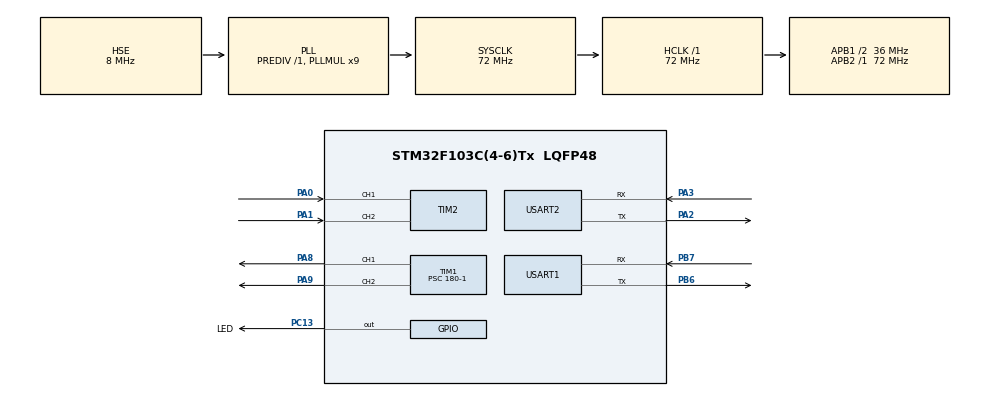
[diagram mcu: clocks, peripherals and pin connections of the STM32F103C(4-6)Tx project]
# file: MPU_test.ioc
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FREERTOS.Tasks01=defaultTask,24,128,StartDefaultTask,Default,NULL,Dynamic,NULL,NULL
FREERTOS.Timers01=ENCODER_TASK,ENCODER_,osTimerPeriodic,Default,NULL,Dynamic,NULL;PID_TASK,PID,osTimerPeriodic,Default,NULL,Dynamic,NULL
Mcu.Family=STM32F1
Mcu.Name=STM32F103C(4-6)Tx
Mcu.Package=LQFP48
NVIC.PriorityGroup=NVIC_PRIORITYGROUP_4
NVIC.TIM3_IRQn=true\:15\:0\:false\:false\:true\:false\:false\:true\:true
NVIC.TimeBase=TIM3_IRQn
NVIC.TimeBaseIP=TIM3
NVIC.USART1_IRQn=true\:5\:0\:false\:false\:true\:true\:true\:true\:true
PA0-WKUP.Signal=S_TIM2_CH1_ETR
PA1.Signal=S_TIM2_CH2
PA13.Mode=Serial_Wire
PA13.Signal=SYS_JTMS-SWDIO
PA14.Mode=Serial_Wire
PA14.Signal=SYS_JTCK-SWCLK
PA2.Mode=Asynchronous
PA2.Signal=USART2_TX
PA3.Mode=Asynchronous
PA3.Signal=USART2_RX
PA8.GPIO_Speed=GPIO_SPEED_FREQ_HIGH
PA8.Signal=S_TIM1_CH1
PA9.GPIO_Speed=GPIO_SPEED_FREQ_HIGH
PA9.Signal=S_TIM1_CH2
PB6.Mode=Asynchronous
PB6.Signal=USART1_TX
PB7.Mode=Asynchronous
PB7.Signal=USART1_RX
PC13-TAMPER-RTC.GPIO_Label=LED
PC13-TAMPER-RTC.PinState=GPIO_PIN_RESET
PC13-TAMPER-RTC.Signal=GPIO_Output
PD0-OSC_IN.Mode=HSE-External-Oscillator
PD0-OSC_IN.Signal=RCC_OSC_IN
PD1-OSC_OUT.Mode=HSE-External-Oscillator
PD1-OSC_OUT.Signal=RCC_OSC_OUT
ProjectManager.HeapSize=0x200
ProjectManager.StackSize=0x800
ProjectManager.TargetToolchain=MDK-ARM V5.32
RCC.AHBFreq_Value=72000000
RCC.APB1CLKDivider=RCC_HCLK_DIV2
RCC.APB1Freq_Value=36000000
RCC.APB1TimFreq_Value=72000000
RCC.APB2Freq_Value=72000000
RCC.APB2TimFreq_Value=72000000
RCC.HCLKFreq_Value=72000000
RCC.PLLMUL=RCC_PLL_MUL9
RCC.PLLSourceVirtual=RCC_PLLSOURCE_HSE
RCC.SYSCLKFreq_VALUE=72000000
RCC.SYSCLKSource=RCC_SYSCLKSOURCE_PLLCLK
RCC.USBFreq_Value=72000000
SH.S_TIM1_CH1.0=TIM1_CH1,PWM Generation1 CH1
SH.S_TIM1_CH2.0=TIM1_CH2,PWM Generation2 CH2
SH.S_TIM2_CH1_ETR.0=TIM2_CH1,Encoder_Interface
SH.S_TIM2_CH2.0=TIM2_CH2,Encoder_Interface
TIM1.Channel-PWM\ Generation1\ CH1=TIM_CHANNEL_1
TIM1.Channel-PWM\ Generation2\ CH2=TIM_CHANNEL_2
TIM1.Period=1000-1
TIM1.Prescaler=180-1
TIM1.Pulse-PWM\ Generation1\ CH1=0
TIM1.Pulse-PWM\ Generation2\ CH2=0
TIM2.EncoderMode=TIM_ENCODERMODE_TI12
TIM2.IC1Filter=5
TIM2.IC2Filter=5
USART1.VirtualMode=VM_ASYNC
USART2.VirtualMode=VM_ASYNC
VP_FREERTOS_VS_CMSIS_V2.Mode=CMSIS_V2
VP_SYS_VS_tim3.Mode=TIM3
VP_TIM1_VS_ClockSourceINT.Mode=Internal
board=custom

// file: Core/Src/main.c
/* USER CODE BEGIN Header */
/**
  ******************************************************************************
  * @file           : main.c
  * @brief          : Main program body
  ******************************************************************************
  * @attention
  *
  * Copyright (c) 2024 STMicroelectronics.
  * All rights reserved.
  *
  * This software is licensed under terms that can be found in the LICENSE file
  * in the root directory of this software component.
  * If no LICENSE file comes with this software, it is provided AS-IS.
  *
  ******************************************************************************
  */
/* USER CODE END Header */
#include "main.h"
#include "cmsis_os.h"
#include "tim.h"
#include "usart.h"
#include "gpio.h"

/* USER CODE BEGIN Includes */

#include "Delay.h"
#include "atk_ms901m.h"
#include "atk_ms901m_uart.h"
#include "pid.h"
/* USER CODE END Includes */

void SystemClock_Config(void);
void MX_FREERTOS_Init(void);

/* USER CODE BEGIN 0 */

extern UART_HandleTypeDef huart1;//句柄
extern uint8_t recieve_data;//串口中断接收到的一个字节数据

/* USER CODE END 0 */

int main(void)
{

  /* MCU Configuration--------------------------------------------------------*/

  /* Reset of all peripherals, Initializes the Flash interface and the Systick. */
  HAL_Init();

  /* Configure the system clock */
  SystemClock_Config();

  /* Initialize all configured peripherals */
  MX_GPIO_Init();
  MX_USART1_UART_Init();
  MX_TIM1_Init();
  MX_TIM2_Init();
  MX_USART2_UART_Init();
  /* USER CODE BEGIN 2 */

  /*接收中断*/
	HAL_UART_Receive_IT(&huart1,&recieve_data,1);//把串口3接受到的数据放入 recieve_data

	//电机
	HAL_TIM_PWM_Start(&htim1,TIM_CHANNEL_1);
	HAL_TIM_PWM_Start(&htim1,TIM_CHANNEL_2);
	//编码器
	HAL_TIM_Encoder_Start_IT(&htim2,TIM_CHANNEL_ALL);

	PID_init();

	Motor_Set(300,0);
  /* USER CODE END 2 */

  /* Init scheduler */
  osKernelInitialize();

  /* Call init function for freertos objects (in freertos.c) */
  MX_FREERTOS_Init();

  /* Start scheduler */
  osKernelStart();

  /* We should never get here as control is now taken by the scheduler */
  /* Infinite loop */
  while (1)
  {

	}
}

void SystemClock_Config(void)
{
  RCC_OscInitTypeDef RCC_OscInitStruct = {0};
  RCC_ClkInitTypeDef RCC_ClkInitStruct = {0};

  /** Initializes the RCC Oscillators according to the specified parameters
  * in the RCC_OscInitTypeDef structure.
  */
  RCC_OscInitStruct.OscillatorType = RCC_OSCILLATORTYPE_HSE;
  RCC_OscInitStruct.HSEState = RCC_HSE_ON;
  RCC_OscInitStruct.HSEPredivValue = RCC_HSE_PREDIV_DIV1;
  RCC_OscInitStruct.HSIState = RCC_HSI_ON;
  RCC_OscInitStruct.PLL.PLLState = RCC_PLL_ON;
  RCC_OscInitStruct.PLL.PLLSource = RCC_PLLSOURCE_HSE;
  RCC_OscInitStruct.PLL.PLLMUL = RCC_PLL_MUL9;
  if (HAL_RCC_OscConfig(&RCC_OscInitStruct) != HAL_OK)
  {
    Error_Handler();
  }

  /** Initializes the CPU, AHB and APB buses clocks
  */
  RCC_ClkInitStruct.ClockType = RCC_CLOCKTYPE_HCLK|RCC_CLOCKTYPE_SYSCLK
                              |RCC_CLOCKTYPE_PCLK1|RCC_CLOCKTYPE_PCLK2;
  RCC_ClkInitStruct.SYSCLKSource = RCC_SYSCLKSOURCE_PLLCLK;
  RCC_ClkInitStruct.AHBCLKDivider = RCC_SYSCLK_DIV1;
  RCC_ClkInitStruct.APB1CLKDivider = RCC_HCLK_DIV2;
  RCC_ClkInitStruct.APB2CLKDivider = RCC_HCLK_DIV1;

  if (HAL_RCC_ClockConfig(&RCC_ClkInitStruct, FLASH_LATENCY_2) != HAL_OK)
  {
    Error_Handler();
  }
}

void HAL_TIM_PeriodElapsedCallback(TIM_HandleTypeDef *htim)
{
  if (htim->Instance == TIM3) {
    HAL_IncTick();
  }
}

void Error_Handler(void)
{
  __disable_irq();
  while (1)
  {
  }
}

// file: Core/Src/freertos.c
/* USER CODE BEGIN Header */
/**
  ******************************************************************************
  * File Name          : freertos.c
  * Description        : Code for freertos applications
  ******************************************************************************
  * @attention
  *
  * Copyright (c) 2024 STMicroelectronics.
  * All rights reserved.
  *
  * This software is licensed under terms that can be found in the LICENSE file
  * in the root directory of this software component.
  * If no LICENSE file comes with this software, it is provided AS-IS.
  *
  ******************************************************************************
  */
/* USER CODE END Header */

#include "FreeRTOS.h"
#include "task.h"
#include "main.h"
#include "cmsis_os.h"

/* USER CODE BEGIN Includes */
#include "pid.h"
#include "tim.h"
#include "usart.h"
/* USER CODE END Includes */

/* USER CODE BEGIN PTD */
Motor_Stat Left_Motor;	/*左轮数据*/
Motor_Stat Right_Motor;	/*右轮数据*/

/*pid*/
extern Pid incremental_pid;
extern Pid local_pid;

/* USER CODE END PTD */

/* USER CODE BEGIN Variables */
//测试
float temp1_pwm;
float temp2_pwm;
/* USER CODE END Variables */
/* Definitions for defaultTask */
osThreadId_t defaultTaskHandle;
const osThreadAttr_t defaultTask_attributes = {
  .name = "defaultTask",
  .stack_size = 128 * 4,
  .priority = (osPriority_t) osPriorityNormal,
};
/* Definitions for ENCODER_TASK */
osTimerId_t ENCODER_TASKHandle;
const osTimerAttr_t ENCODER_TASK_attributes = {
  .name = "ENCODER_TASK"
};
/* Definitions for PID_TASK */
osTimerId_t PID_TASKHandle;
const osTimerAttr_t PID_TASK_attributes = {
  .name = "PID_TASK"
};

void StartDefaultTask(void *argument);
void ENCODER_(void *argument);
void PID(void *argument);

void MX_FREERTOS_Init(void); /* (MISRA C 2004 rule 8.1) */

void MX_FREERTOS_Init(void) {

  /* Create the timer(s) */
  /* creation of ENCODER_TASK */
  ENCODER_TASKHandle = osTimerNew(ENCODER_, osTimerPeriodic, NULL, &ENCODER_TASK_attributes);

  /* creation of PID_TASK */
  PID_TASKHandle = osTimerNew(PID, osTimerPeriodic, NULL, &PID_TASK_attributes);

  /* USER CODE BEGIN RTOS_TIMERS */
  /* start timers, add new ones, ... */

	//编码器控制频率设定 单位 ms
	osTimerStart(ENCODER_TASKHandle,ENCODER_TIME*1000);
	//PID控制频率设定 单位 ms
	osTimerStart(PID_TASKHandle,PID_TIME*1000);

  /* USER CODE END RTOS_TIMERS */

  /* Create the thread(s) */
  /* creation of defaultTask */
  defaultTaskHandle = osThreadNew(StartDefaultTask, NULL, &defaultTask_attributes);

}

void StartDefaultTask(void *argument)
{
  for(;;)
  {
		osDelay(1);
  }
}

/* ENCODER_ function */
void ENCODER_(void *argument)
{
  /* USER CODE BEGIN ENCODER_ */
	/*左侧*/
	float left_distance = 0;
	//正反
	int left_tmp_ec = __HAL_TIM_GET_COUNTER(&htim2);
	__HAL_TIM_SET_COUNTER(&htim2,0);
	if(left_tmp_ec > 60000)	left_tmp_ec = (left_tmp_ec - 65536.3);

	Left_Motor.EncodeCount = left_tmp_ec;
	left_distance = (float)(Left_Motor.EncodeCount/EC_1)*C_1;
	Left_Motor.Distance += left_distance;
	Left_Motor.Motorspeed = left_distance/ENCODER_TIME;

	printf("%.0f  					%.2f  					%.2f  \n",Left_Motor.EncodeCount,left_distance,Left_Motor.Motorspeed);

  /* USER CODE END ENCODER_ */
}

/* PID function */
void PID(void *argument)
{
  /* USER CODE BEGIN PID */
//	temp2_pwm = PID_realize(&local_pid,Left_Motor.Distance);
//	incremental_pid.target_val = temp2_pwm;
//	temp1_pwm = Incremental_PID(&incremental_pid,Left_Motor.Motorspeed);
//	Motor_Set(temp1_pwm,0);

  /* USER CODE END PID */
}
